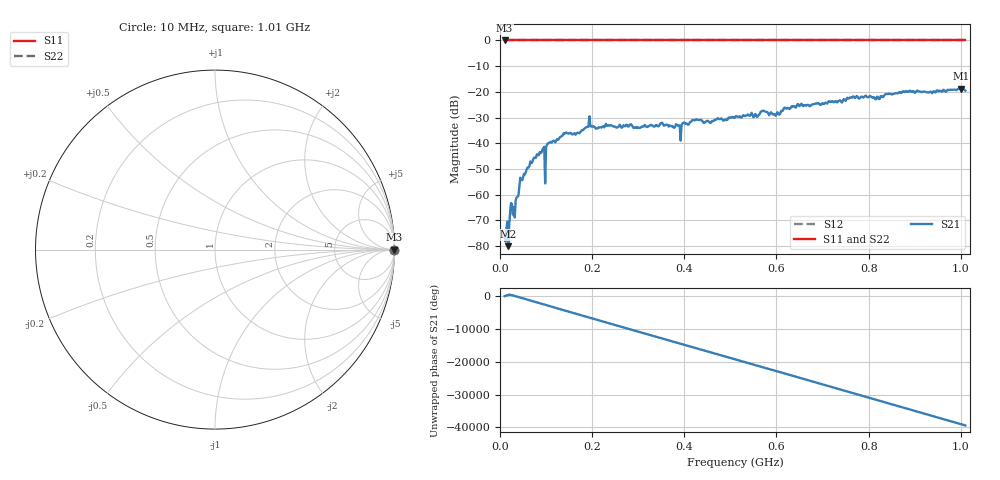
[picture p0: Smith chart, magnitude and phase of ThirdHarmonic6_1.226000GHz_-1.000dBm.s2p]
! 8/16/2025 12:54:33 PM
! C:\ANRITSUVNA\TEMP\TEMP.S2P
! CHANNEL.1
! TR.MEASUREMENT
! RAW.DATA
! RF.CORRECTION.OFF
! AVERAGING.OFF
! IF.BANDWIDTH: 5KHZ
! SWEEPTYPE:  FREQ.SWEEP(Linear)
! Reference Plane Port Info
! PORT:  PORT1  PORT2
! DISTANCE:  0  m  0  m
! TIME:  0  s  0  s
! PHASE.OFFSET:  0  deg.  0  deg.
! LOSS:  0  dB  0  dB
! REF.LOSS:  0  dB  0  dB
! REF.FREQ:  0  Hz  0  Hz
! Power Info
! POWER:  -20  dBm  -20  dBm
! EFF.POWER:  -20  dBm  -20  dBm
! SOURCE.ATTEN:  0  dB  0  dB
! TEST.ATTEN:  0  dB  0  dB
# GHZ S RI R 50.0
! FREQ.GHZ  S11RE  S11IM  S21RE  S21IM  S12RE  S12IM  S22RE  S22IM
!; PortSelection: Port_12
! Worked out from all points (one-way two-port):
!   501 points, 10 MHz to 1.01 GHz, reference 50 ohm
!   highest |S21| = -18.70 dB at 1 GHz (marker M1); lowest = -80.1 dB at 18 MHz (marker M2)
!   lowest |S11| = 0.0 dB at 10 MHz (marker M3)
!   |S11| at or under -10 dB: nowhere
!   |S22| runs from 0.0 to 0.0 dB; largest |S21 - S12| = 1.1
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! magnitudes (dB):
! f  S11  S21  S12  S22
! 10 MHz  0.0  -76.2  0.0  0.0
! 18 MHz  0.0  -80.1  0.0  0.0
! 26 MHz  0.0  -63.8  0.0  0.0
! 32 MHz  0.0  -68.9  0.0  0.0
! 46 MHz  0.0  -54.1  0.0  0.0
! 70 MHz  0.0  -47.4  0.0  0.0
! 92 MHz  0.0  -42.5  0.0  0.0
! 94 MHz  0.0  -42.0  0.0  0.0
! 102 MHz  0.0  -40.6  0.0  0.0
! 106 MHz  0.0  -39.9  0.0  0.0
! 178 MHz  0.0  -34.9  0.0  0.0
! 198 MHz  0.0  -33.5  0.0  0.0
! 344 MHz  0.0  -33.4  0.0  0.0
! 390 MHz  0.0  -33.1  0.0  0.0
! 422 MHz  0.0  -31.1  0.0  0.0
! 510 MHz  0.0  -29.9  0.0  0.0
! 570 MHz  0.0  -27.5  0.0  0.0
! 602 MHz  0.0  -28.0  0.0  0.0
! 678 MHz  0.0  -24.9  0.0  0.0
! 844 MHz  0.0  -20.7  0.0  0.0
! 1 GHz  0.0  -18.7  0.0  0.0
! 1.01 GHz  0.0  -19.6  0.0  0.0
